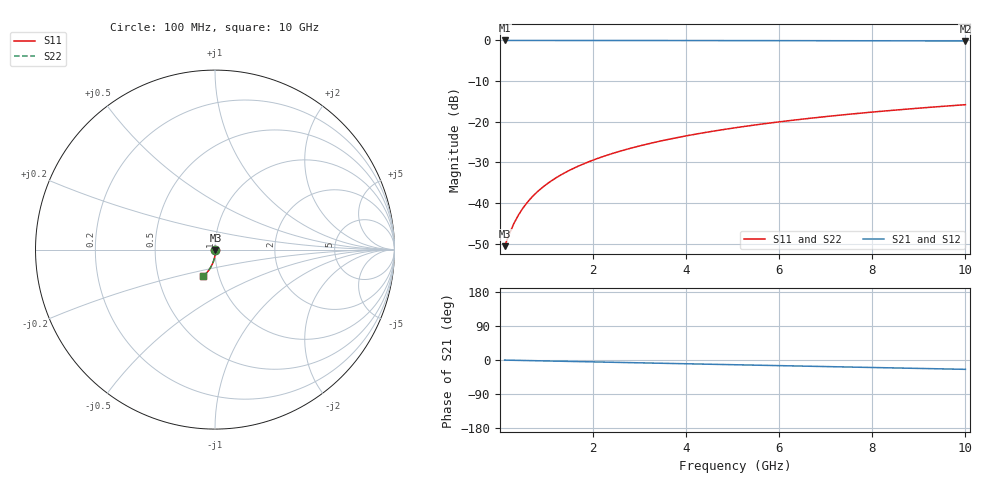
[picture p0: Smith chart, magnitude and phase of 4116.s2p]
# Hz S RI R 50.00
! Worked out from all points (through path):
!   100 points, 100 MHz to 10 GHz, reference 50 ohm
!   highest |S21| = -0.02 dB at 100 MHz (marker M1); lowest = -0.1 dB at 10 GHz (marker M2)
!   group delay of S21, straight-line fit = 6.85 ps
!   lowest |S11| = -50.6 dB at 100 MHz (marker M3), VSWR 1.01, Z = 50.2 - j0.17 ohm
!   |S11| at or under -10 dB: start of sweep to end of sweep
!   |S22| runs from -50.6 to -15.8 dB; largest |S21 - S12| = 0
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1e8  0.00241 -0.00169  0.9976 -0.00433  0.9976 -0.00433  0.00241 -0.00169
2e8  0.0024 -0.00338  0.9975 -0.00865  0.9975 -0.00865  0.0024 -0.00338
3e8  0.00237 -0.00507  0.9974 -0.013  0.9974 -0.013  0.00237 -0.00507
4e8  0.00233 -0.00676  0.9974 -0.0173  0.9974 -0.0173  0.00233 -0.00676
5e8  0.00227 -0.00845  0.9973 -0.0216  0.9973 -0.0216  0.00227 -0.00845
6e8  0.00219 -0.0101  0.9971 -0.0259  0.9971 -0.0259  0.00219 -0.0101
7e8  0.0021 -0.0118  0.997 -0.0303  0.997 -0.0303  0.0021 -0.0118
9e8  0.00187 -0.0152  0.9966 -0.0389  0.9966 -0.0389  0.00187 -0.0152
1e9  0.00174 -0.0169  0.9964 -0.0432  0.9964 -0.0432  0.00174 -0.0169
1.2e9  0.00142 -0.0203  0.9959 -0.0519  0.9959 -0.0519  0.00142 -0.0203
1.5e9  0.000835 -0.0253  0.995 -0.0648  0.995 -0.0648  0.000835 -0.0253
1.8e9  0.000118 -0.0303  0.9939 -0.0777  0.9939 -0.0777  0.000118 -0.0303
2.1e9  -0.000729 -0.0353  0.9926 -0.0906  0.9926 -0.0906  -0.000729 -0.0353
2.5e9  -0.00206 -0.0419  0.9906 -0.1078  0.9906 -0.1078  -0.00206 -0.0419
2.9e9  -0.00362 -0.0485  0.9883 -0.1249  0.9883 -0.1249  -0.00362 -0.0485
3.4e9  -0.00589 -0.0566  0.9849 -0.1461  0.9849 -0.1461  -0.00589 -0.0566
4.2e9  -0.0102 -0.0694  0.9784 -0.1799  0.9784 -0.1799  -0.0102 -0.0694
5.1e9  -0.0161 -0.0833  0.9695 -0.2175  0.9695 -0.2175  -0.0161 -0.0833
5.9e9  -0.0223 -0.0953  0.9602 -0.2505  0.9602 -0.2505  -0.0223 -0.0953
6.7e9  -0.0292 -0.1068  0.9497 -0.2829  0.9497 -0.2829  -0.0292 -0.1068
8.4e9  -0.0463 -0.1293  0.9234 -0.3499  0.9234 -0.3499  -0.0463 -0.1293
1e10  -0.0651 -0.148  0.894 -0.4102  0.894 -0.4102  -0.0651 -0.148
